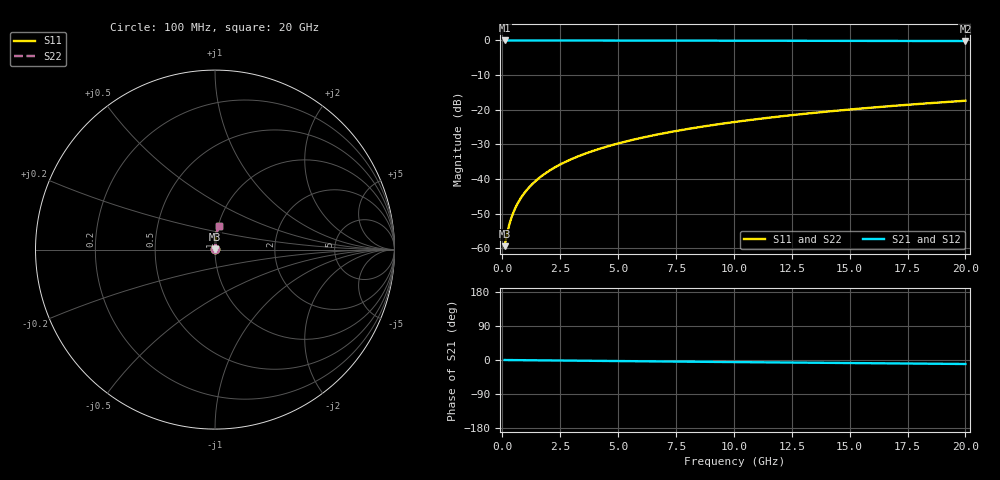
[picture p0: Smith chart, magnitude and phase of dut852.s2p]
! Touchstone file exported from HFSS 2024.1.0
!  File:  C:/UserFiles/LocalFiles/RDL_TSV_Batchsim/temp_RDL_bottom_852_1779864191.aedt
!  Generated:  02:45:21 PM May 27, 2026
!  Design:  RDL_bottom
!  Project:  temp_RDL_bottom_852_1779864191
!  Setup:  Setup1
!  Solution:  Sweep
! Variables:
!  dtsv = 10.80580581um
!  hbump = 3um
!  htsv = 59.98um
!  ldown = 111.56um
!  lrdl = 100um
!  p = 40
!  p1 = 44.29um
!  rhole = 1um
!  t = 450um
!  tdown = 3.99um
!  trdl = 3.915915916um
!  wdown = 14.84um
!  wrdl = 20um
# GHz S MA R 50.000000
! Terminal data exported
! Port[1] = RDL1_T1
! Port[2] = RDL1_T2
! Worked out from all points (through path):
!   200 points, 100 MHz to 20 GHz, reference 50 ohm
!   highest |S21| = -0.01 dB at 100 MHz (marker M1); lowest = -0.2 dB at 20 GHz (marker M2)
!   group delay of S21, straight-line fit = 1.45 ps
!   lowest |S11| = -59.4 dB at 100 MHz (marker M3), VSWR 1.00, Z = 50.1 + j0.0679 ohm
!   |S11| at or under -10 dB: start of sweep to end of sweep
!   |S22| runs from -59.4 to -17.4 dB; largest |S21 - S12| = 3e-15
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0.1  0.001071 39.3  0.9992 -0.1  0.9992 -0.1  0.001071 39.3
! Gamma 0 0 0 0
! Port Impedance 50 0 50 0
0.2  0.001592 57.7  0.9991 -0.1  0.9991 -0.1  0.001592 57.7
0.3  0.002185 66.4  0.9991 -0.2  0.9991 -0.2  0.002185 66.4
0.4  0.002797 71.3  0.9991 -0.2  0.9991 -0.2  0.002797 71.3
0.5  0.003416 74.5  0.9991 -0.3  0.9991 -0.3  0.003416 74.5
0.6  0.00404 76.7  0.999 -0.4  0.999 -0.4  0.00404 76.7
0.8  0.005296 79.7  0.999 -0.5  0.999 -0.5  0.005296 79.7
1.1  0.007196 82.2  0.9989 -0.6  0.9989 -0.6  0.007196 82.2
1.5  0.009749 84.1  0.9988 -0.9  0.9988 -0.9  0.009749 84.1
1.8  0.01167 85.0  0.9986 -1.0  0.9986 -1.0  0.01167 85.0
2.1  0.0136 85.6  0.9985 -1.2  0.9985 -1.2  0.0136 85.6
2.7  0.01748 86.4  0.9982 -1.5  0.9982 -1.5  0.01748 86.4
3.5  0.02268 87.0  0.9976 -2.0  0.9976 -2.0  0.02268 87.0
4.2  0.02727 87.2  0.9971 -2.4  0.9971 -2.4  0.02727 87.2
5  0.03254 87.3  0.9964 -2.8  0.9964 -2.8  0.03254 87.3
5.9  0.03852 87.3  0.9955 -3.3  0.9955 -3.3  0.03852 87.3
6.8  0.04454 87.2  0.9946 -3.8  0.9946 -3.8  0.04454 87.2
8.3  0.05467 86.9  0.993 -4.6  0.993 -4.6  0.05467 86.9
10.1  0.06695 86.2  0.9911 -5.5  0.9911 -5.5  0.06695 86.2
13.4  0.08962 84.8  0.9874 -7.2  0.9874 -7.2  0.08962 84.8
16.7  0.1123 83.1  0.9836 -8.9  0.9836 -8.9  0.1123 83.1
20  0.1348 81.4  0.9796 -10.5  0.9796 -10.5  0.1348 81.4
